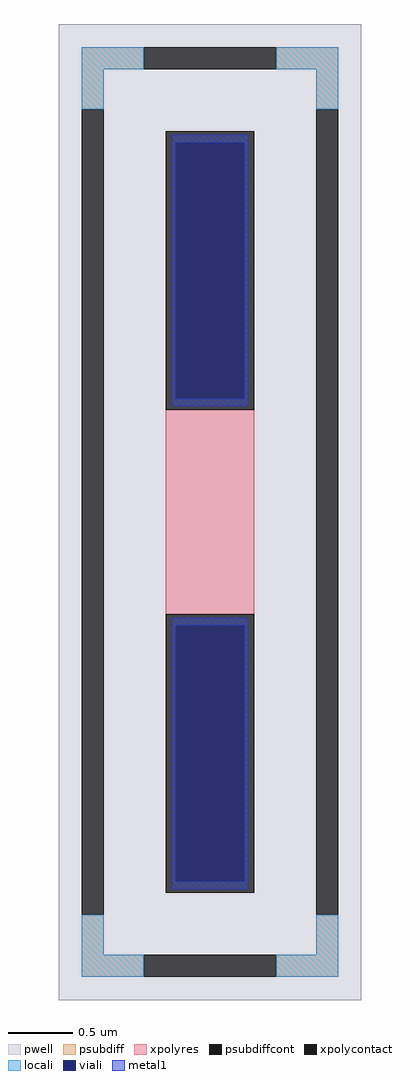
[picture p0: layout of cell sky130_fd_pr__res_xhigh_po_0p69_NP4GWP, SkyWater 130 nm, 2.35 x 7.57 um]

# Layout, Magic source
magic
tech sky130A
magscale 1 2
<< pwell >>
rect -235 -757 235 757
<< psubdiff >>
rect -199 687 -103 721
rect 103 687 199 721
rect -199 625 -165 687
rect 165 625 199 687
rect -199 -687 -165 -625
rect 165 -687 199 -625
rect -199 -721 -103 -687
rect 103 -721 199 -687
<< psubdiffcont >>
rect -103 687 103 721
rect -199 -625 -165 625
rect 165 -625 199 625
rect -103 -721 103 -687
<< xpolycontact >>
rect -69 159 69 591
rect -69 -591 69 -159
<< xpolyres >>
rect -69 -159 69 159
<< locali >>
rect -199 687 -103 721
rect 103 687 199 721
rect -199 625 -165 687
rect 165 625 199 687
rect -199 -687 -165 -625
rect 165 -687 199 -625
rect -199 -721 -103 -687
rect 103 -721 199 -687
<< viali >>
rect -53 176 53 573
rect -53 -573 53 -176
<< metal1 >>
rect -59 573 59 585
rect -59 176 -53 573
rect 53 176 59 573
rect -59 164 59 176
rect -59 -176 59 -164
rect -59 -573 -53 -176
rect 53 -573 59 -176
rect -59 -585 59 -573
<< properties >>
string FIXED_BBOX -182 -704 182 704
string gencell sky130_fd_pr__res_xhigh_po_0p69
string library sky130
string parameters w 0.690 l 1.75 m 1 nx 1 wmin 0.690 lmin 0.50 rho 2000 val 5.617k dummy 0 dw 0.0 term 188.2 sterm 0.0 caplen 0 wmax 0.690 guard 1 glc 1 grc 1 gtc 1 gbc 1 compatible {sky130_fd_pr__res_xhigh_po_0p35  sky130_fd_pr__res_xhigh_po_0p69 sky130_fd_pr__res_xhigh_po_1p41  sky130_fd_pr__res_xhigh_po_2p85 sky130_fd_pr__res_xhigh_po_5p73} snake 0 full_metal 1 n_guard 0 hv_guard 0 vias 1 viagb 0 viagt 0 viagl 0 viagr 0
<< end >>
